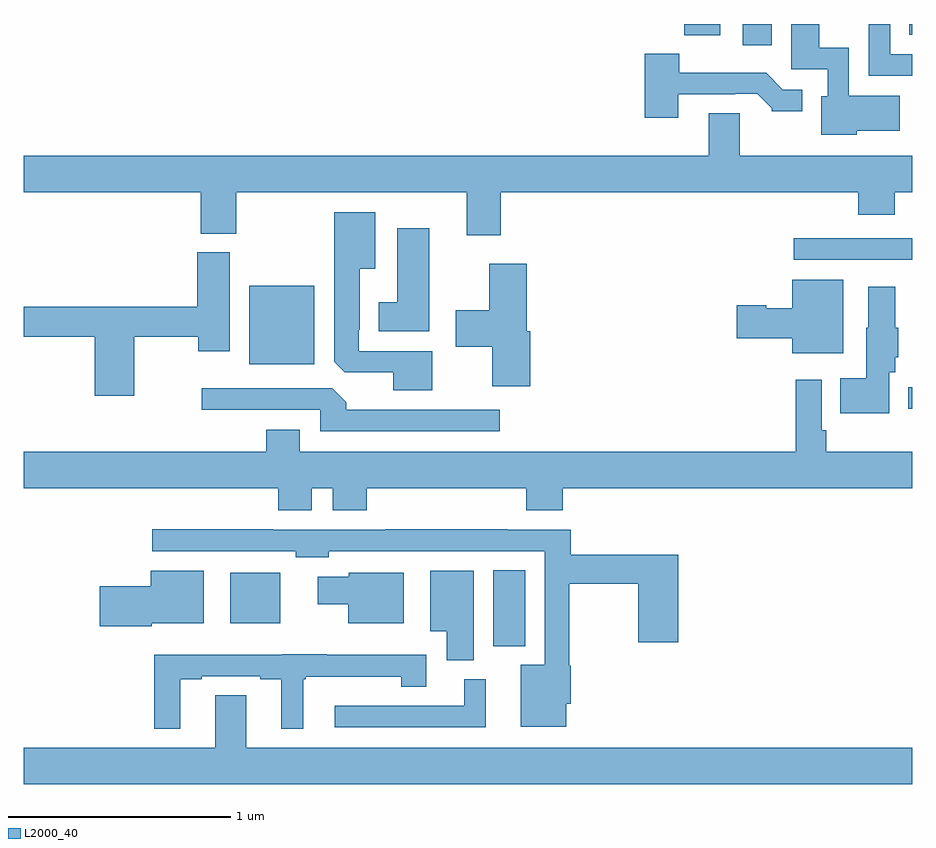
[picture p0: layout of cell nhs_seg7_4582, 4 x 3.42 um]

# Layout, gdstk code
import gdstk
lib = gdstk.Library(unit=1e-6, precision=1e-09)
def R(c, l, rs):  # rectangles x0, y0, x1, y1
    for r in rs: c.add(gdstk.rectangle(r[:2], r[2:], *l))
def P(c, l, *ps):  # polygons
    for p in ps: c.add(gdstk.Polygon(p, *l))
L2000_40 = (2000, 40)

nhs_seg7_4582 = lib.new_cell('nhs_seg7_4582')
R(nhs_seg7_4582, L2000_40, [(401.114,1037.201,401.257,1037.543), (399.929,1037.303,400.156,1037.53), (402.981,1038.269,403,1038.366), (400.016,1038.47,400.309,1038.823), (402.465,1038.939,403,1039.035), (402.236,1039.905,402.367,1040), (401.974,1039.949,402.136,1040), (402.985,1039.952,403,1040)])
P(nhs_seg7_4582, L2000_40, [(403,1039.863),(402.9,1039.863),(402.9,1040),(402.804,1040),(402.804,1039.767),(403,1039.767)],
  [(402.75,1039.52),(402.943,1039.52),(402.943,1039.678),(402.714,1039.678),(402.714,1039.894),(402.58,1039.894),(402.58,1040),(402.455,1040),(402.455,1039.797),(402.618,1039.797),(402.618,1039.674),(402.59,1039.674),(402.59,1039.502),(402.75,1039.502)],
  [(401.947,1039.683),(402.203,1039.683),(402.203,1039.686),(402.302,1039.686),(402.366,1039.622),(402.366,1039.607),(402.505,1039.607),(402.505,1039.704),(402.417,1039.704),(402.341,1039.78),(401.95,1039.78),(401.95,1039.867),(401.795,1039.867),(401.795,1039.578),(401.947,1039.578)],
  [(401.147,1039.244),(402.755,1039.244),(402.755,1039.142),(402.92,1039.142),(402.92,1039.244),(403,1039.244),(403,1039.408),(402.223,1039.408),(402.223,1039.598),(402.083,1039.598),(402.083,1039.408),(399,1039.408),(399,1039.244),(399.797,1039.244),(399.797,1039.057),(399.957,1039.057),(399.957,1039.244),(400.994,1039.244),(400.994,1039.05),(401.147,1039.05)],
  [(400.84,1038.528),(400.509,1038.528),(400.509,1038.625),(400.513,1038.625),(400.513,1038.899),(400.582,1038.899),(400.582,1039.153),(400.397,1039.153),(400.397,1038.481),(400.446,1038.432),(400.664,1038.432),(400.664,1038.353),(400.84,1038.353)],
  [(400.825,1039.081),(400.682,1039.081),(400.682,1038.748),(400.598,1038.748),(400.598,1038.617),(400.825,1038.617)],
  [(399.498,1038.592),(399.787,1038.592),(399.787,1038.528),(399.928,1038.528),(399.928,1038.972),(399.782,1038.972),(399.782,1038.728),(399,1038.728),(399,1038.592),(399.32,1038.592),(399.32,1038.327),(399.498,1038.327)],
  [(401.279,1038.617),(401.264,1038.617),(401.264,1038.922),(401.096,1038.922),(401.096,1038.711),(400.944,1038.711),(400.944,1038.548),(401.108,1038.548),(401.108,1038.369),(401.279,1038.369)],
  [(402.688,1038.85),(402.458,1038.85),(402.458,1038.721),(402.342,1038.721),(402.342,1038.734),(402.21,1038.734),(402.21,1038.587),(402.458,1038.587),(402.458,1038.518),(402.688,1038.518)],
  [(402.895,1038.432),(402.922,1038.432),(402.922,1038.501),(402.937,1038.501),(402.937,1038.633),(402.922,1038.633),(402.922,1038.817),(402.8,1038.817),(402.8,1038.633),(402.791,1038.633),(402.791,1038.406),(402.676,1038.406),(402.676,1038.248),(402.895,1038.248)],
  [(400.091,1038.076),(399,1038.076),(399,1037.912),(400.145,1037.912),(400.145,1037.813),(400.297,1037.813),(400.297,1037.912),(400.391,1037.912),(400.391,1037.813),(400.544,1037.813),(400.544,1037.912),(401.261,1037.912),(401.261,1037.813),(401.426,1037.813),(401.426,1037.912),(403,1037.912),(403,1038.076),(402.611,1038.076),(402.611,1038.172),(402.591,1038.172),(402.591,1038.4),(402.475,1038.4),(402.475,1038.076),(400.243,1038.076),(400.243,1038.175),(400.091,1038.175)],
  [(401.143,1038.264),(400.451,1038.264),(400.451,1038.298),(400.389,1038.36),(399.801,1038.36),(399.801,1038.264),(400.335,1038.264),(400.335,1038.168),(401.143,1038.168)],
  [(401.443,1036.942),(401.462,1036.942),(401.462,1037.112),(401.455,1037.112),(401.455,1037.482),(401.767,1037.482),(401.767,1037.217),(401.945,1037.217),(401.945,1037.611),(401.462,1037.611),(401.462,1037.724),(401.177,1037.724),(401.177,1037.726),(400.627,1037.726),(400.627,1037.724),(400.124,1037.724),(400.124,1037.726),(399.579,1037.726),(399.579,1037.628),(400.224,1037.628),(400.224,1037.6),(400.374,1037.6),(400.374,1037.628),(401.346,1037.628),(401.346,1037.116),(401.237,1037.116),(401.237,1036.838),(401.443,1036.838)],
  [(401.026,1037.539),(400.829,1037.539),(400.829,1037.267),(400.904,1037.267),(400.904,1037.137),(401.026,1037.137)],
  [(399.576,1037.303),(399.811,1037.303),(399.811,1037.539),(399.572,1037.539),(399.572,1037.469),(399.342,1037.469),(399.342,1037.291),(399.576,1037.291)],
  [(400.711,1037.53),(400.464,1037.53),(400.464,1037.512),(400.323,1037.512),(400.323,1037.39),(400.46,1037.39),(400.46,1037.303),(400.711,1037.303)],
  [(399.706,1037.052),(399.802,1037.052),(399.802,1037.064),(400.064,1037.064),(400.064,1037.052),(400.16,1037.052),(400.16,1036.829),(400.258,1036.829),(400.258,1037.052),(400.27,1037.052),(400.27,1037.063),(400.7,1037.063),(400.7,1037.017),(400.813,1037.017),(400.813,1037.161),(400.364,1037.161),(400.364,1037.163),(400.164,1037.163),(400.164,1037.161),(399.589,1037.161),(399.589,1036.829),(399.706,1036.829)],
  [(401.08,1037.052),(400.982,1037.052),(400.982,1036.932),(400.401,1036.932),(400.401,1036.836),(401.08,1036.836)],
  [(403,1036.744),(400.003,1036.744),(400.003,1036.979),(399.863,1036.979),(399.863,1036.744),(399,1036.744),(399,1036.58),(403,1036.58)])

lib.write_gds('nhs_seg7_4582.gds')
